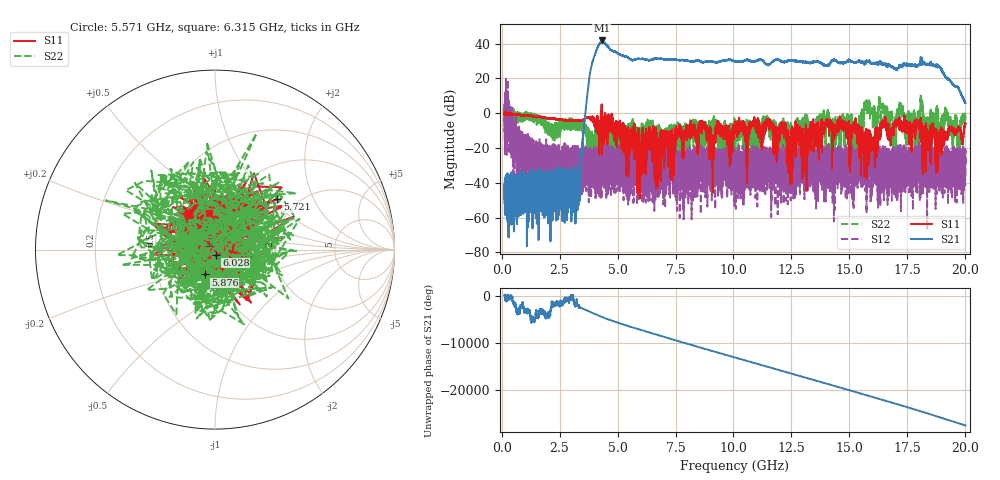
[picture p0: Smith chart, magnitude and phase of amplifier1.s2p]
!Created with skrf (http://scikit-rf.org).
# GHz S RI R 50.0
!freq ReS11 ImS11 ReS21 ImS21 ReS12 ImS12 ReS22 ImS22
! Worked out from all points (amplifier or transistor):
!   20013 points, 130 MHz to 20 GHz, reference 50 ohm
!   highest |S21| = 41.9 dB at 4.317 GHz (marker M1)
!   |S21| within 3 dB of that: 4.174 GHz to 4.549 GHz (375.4 MHz wide, 8.61 % of centre)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
!   unconditionally stable (mu >= 1): 1.268 GHz to 1.512 GHz; 1.512 GHz to 3.683 GHz; 19.7 GHz to 19.86 GHz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
!   at 3.465 GHz: K = 41.06, MAG = -18.2 dB, |S12| = -23.0 dB
!   at 10.14 GHz: K = 0.89, MSG = 27.8 dB, |S12| = -25.5 dB
!   at 20 GHz: K = 8.01, MAG = 9.4 dB, |S12| = -37.1 dB
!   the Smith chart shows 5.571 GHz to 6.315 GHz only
!   S11 on the Smith chart (normalised r, x): 5.571 GHz: 0.69, +0.29; 5.721 GHz: 1.59, +1.11; 5.876 GHz: 0.86, -0.24; 6.028 GHz: 1.01, -0.06; 6.315 GHz: 0.86, +0.37
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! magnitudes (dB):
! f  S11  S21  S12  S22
! 130 MHz  0.7  -51.7  -15.8  2.6
! 1.369 GHz  -1.7  -54.8  -29.2  -2.7
! 3.205 GHz  -3.9  -46.7  -31.1  -6.9
! 3.442 GHz  -4.4  -22.3  -25.0  -5.4
! 3.841 GHz  -1.9  25.0  -24.1  -24.9
! 4.317 GHz  5.1  41.9  -16.1  4.4
! 5.571 GHz  -12.0  30.9  -27.3  -8.3
! 5.721 GHz  -7.0  30.8  -24.6  -6.8
! 5.876 GHz  -16.6  31.3  -27.6  -17.8
! 6.028 GHz  -30.8  31.2  -36.2  -9.5
! 6.315 GHz  -13.6  30.6  -26.5  -6.2
! 6.754 GHz  -26.5  31.3  -37.5  -16.4
! 10.06 GHz  -6.8  29.6  -22.9  -7.4
! 12.16 GHz  -8.3  29.5  -31.9  -13.8
! 12.48 GHz  -13.2  30.6  -20.7  -7.3
! 13.38 GHz  -8.0  29.1  -30.8  -10.5
! 14.08 GHz  -6.9  27.8  -24.4  -1.6
! 15.29 GHz  -6.5  29.4  -20.3  -4.8
! 15.76 GHz  -12.1  30.0  -24.7  2.4
! 16.69 GHz  -8.2  28.1  -26.5  -2.1
! 18.84 GHz  -19.5  27.1  -26.9  -8.0
! 20 GHz  -5.9  5.8  -37.1  -4.0
